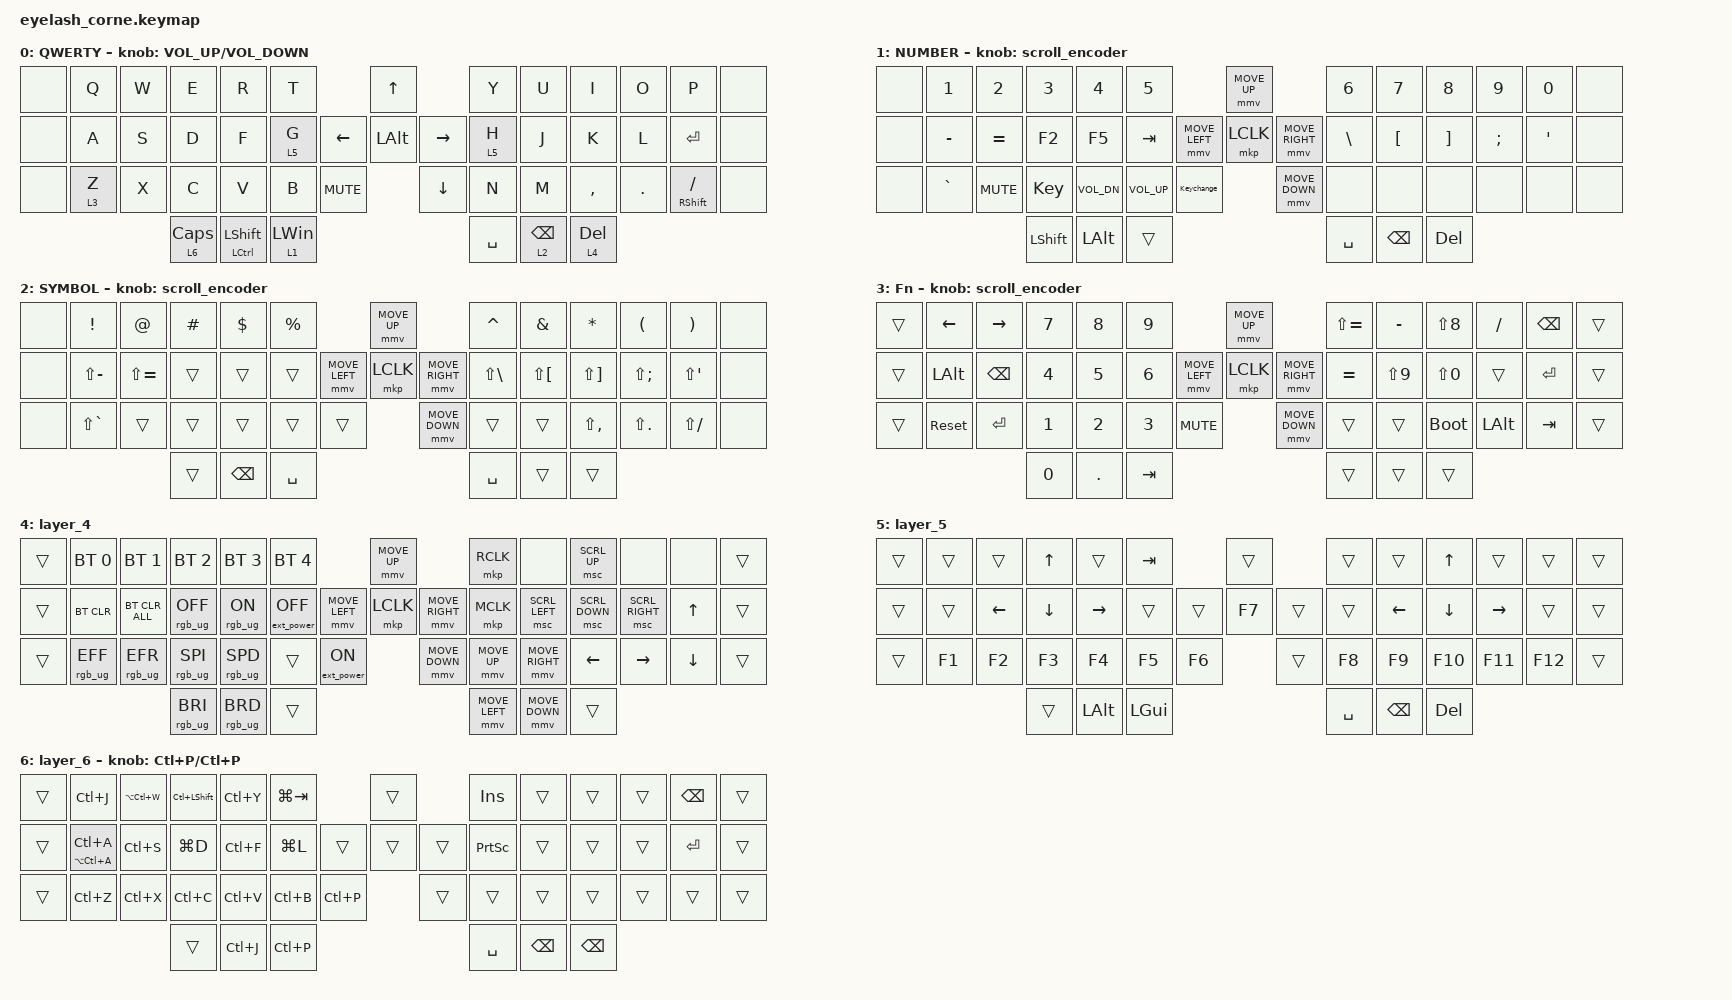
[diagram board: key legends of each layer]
#define ZMK_POINTING_DEFAULT_MOVE_VAL 1200  // 600
#define ZMK_POINTING_DEFAULT_SCRL_VAL 25   // 10

#include <input/processors.dtsi>
#include <zephyr/dt-bindings/input/input-event-codes.h>
#include <behaviors.dtsi>
#include <dt-bindings/zmk/bt.h>
#include <dt-bindings/zmk/ext_power.h>
#include <dt-bindings/zmk/keys.h>
#include <dt-bindings/zmk/pointing.h>
#include <dt-bindings/zmk/rgb.h>

&mmv_input_listener { input-processors = <&zip_xy_scaler 2 1>; };

&msc_input_listener { input-processors = <&zip_scroll_scaler 2 1>; };

&msc {
    acceleration-exponent = <1>;      // 0
    time-to-max-speed-ms = <100>;       // 300
    delay-ms = <0>;                   // 0
};

&mmv {
    time-to-max-speed-ms = <500>;
    acceleration-exponent = <1>;
    trigger-period-ms = <16>;
};

&lt { flavor = "tap-preferred"; };

&mt { flavor = "tap-preferred"; };

/ {
    behaviors {
        td0: td0 {
            compatible = "zmk,behavior-tap-dance";
            display-name = "Shift/Caps Lock Tap Dance";
            #binding-cells = <0>;
            bindings = <&kp LEFT_SHIFT>, <&kp CAPS>;
        };

        ltq: ltq {
            compatible = "zmk,behavior-hold-tap";
            label = "LTQ";
            bindings = <&mo>, <&kp>;

            #binding-cells = <2>;
            tapping-term-ms = <200>;
            quick-tap-ms = <180>;
            flavor = "tap-preferred";
        };
    };

    rgb_encoder: rgb_encoder {
        compatible = "zmk,behavior-sensor-rotate";
        #sensor-binding-cells = <0>;
        bindings = <&rgb_ug RGB_BRI>, <&rgb_ug RGB_BRD>;
    };

    scroll_encoder: scroll_encoder {
        compatible = "zmk,behavior-sensor-rotate";
        #sensor-binding-cells = <0>;
        bindings = <&msc SCRL_DOWN>, <&msc SCRL_UP>;

        tap-ms = <100>;
    };

    combos {
        compatible = "zmk,combos";

        esc {
            bindings = <&kp ESC>;
            key-positions = <1 2>;
        };

        del {
            bindings = <&kp DELETE>;
            key-positions = <14 15>;
        };

        caps {
            bindings = <&kp CAPSLOCK>;
            key-positions = <29 30>;
        };

        bac {
            bindings = <&kp BACKSPACE>;
            key-positions = <10 11>;
        };

        dnter {
            bindings = <&kp ENTER>;
            key-positions = <25 26>;
        };

        tab {
            bindings = <&kp TAB>;
            key-positions = <39 40>;
        };

        home {
            bindings = <&kp HOME>;
            key-positions = <3 4>;
        };

        end {
            bindings = <&kp END>;
            key-positions = <16 17>;
        };

        pu {
            bindings = <&kp PG_UP>;
            key-positions = <8 9>;
        };

        pd {
            bindings = <&kp PG_DN>;
            key-positions = <23 24>;
        };
    };

    macros {
        Key: Key {
            compatible = "zmk,behavior-macro";
            #binding-cells = <0>;
            bindings = <&none &kp LS(C) &kp H &kp L &kp DOT &kp N8 &kp N8 &kp N0 &kp N6 &kp N0 &kp N2 &kp AMPS &kp STAR &kp LPAR &kp ENTER>;
            label = "KEY";
        };

        Keychange: Keychange {
            compatible = "zmk,behavior-macro";
            #binding-cells = <0>;
            bindings = <&kp LS(C) &kp H &kp L &kp DOT &kp N8 &kp N8 &kp N0 &kp N6 &kp N0 &kp N2 &kp PRCNT &kp CARET &kp AMPS &kp STAR &kp LPAR>;
            label = "KEYCHANGE";
        };
    };

    keymap {
        compatible = "zmk,keymap";

        default_layer {
            display-name = "QWERTY";
            bindings = <
&none  &kp Q    &kp W  &kp E           &kp R                 &kp T                                   &kp UP                   &kp Y      &kp U             &kp I         &kp O    &kp P                  &none
&none  &kp A    &kp S  &kp D           &kp F                 &lt 5 G                       &kp LEFT  &kp LEFT_ALT  &kp RIGHT  &lt 5 H    &kp J             &kp K         &kp L    &kp ENTER              &none
&none  &lt 3 Z  &kp X  &kp C           &kp V                 &kp B           &kp C_MUTE              &kp DOWN                 &kp N      &kp M             &kp COMMA     &kp DOT  &mt RIGHT_SHIFT SLASH  &none
                       &lt 6 CAPSLOCK  &mt LCTRL LEFT_SHIFT  &lt 1 LEFT_WIN                                                   &kp SPACE  &ltq 2 BACKSPACE  &lt 4 DELETE
            >;

            sensor-bindings = <&inc_dec_kp C_VOLUME_UP C_VOLUME_DOWN>;
        };

        lower_layer {
            display-name = "NUMBER";
            bindings = <
&none  &kp N1     &kp N2      &kp N3     &kp N4        &kp N5                                      &mmv MOVE_UP                     &kp N6     &kp N7    &kp N8      &kp N9    &kp N0    &none
&none  &kp MINUS  &kp EQUAL   &kp F2     &kp F5        &kp TAB                     &mmv MOVE_LEFT  &mkp LCLK       &mmv MOVE_RIGHT  &kp BSLH   &kp LBKT  &kp RBKT    &kp SEMI  &kp APOS  &none
&none  &kp GRAVE  &kp C_MUTE  &Key       &kp C_VOL_DN  &kp C_VOL_UP  &Keychange                    &mmv MOVE_DOWN                   &none      &none     &none       &none     &none     &none
                              &kp LSHFT  &kp LALT      &trans                                                                       &kp SPACE  &kp BSPC  &kp DELETE
            >;

            sensor-bindings = <&scroll_encoder>;
        };

        raise_layer {
            display-name = "SYMBOL";
            bindings = <
&none  &kp EXCL       &kp AT         &kp HASH  &kp DLLR       &kp PRCNT                            &mmv MOVE_UP                     &kp CARET     &kp AMPS      &kp ASTRK      &kp LPAR      &kp RPAR      &none
&none  &kp LS(MINUS)  &kp LS(EQUAL)  &trans    &trans         &trans               &mmv MOVE_LEFT  &mkp LCLK       &mmv MOVE_RIGHT  &kp LS(BSLH)  &kp LS(LBKT)  &kp LS(RBKT)   &kp LS(SEMI)  &kp LS(APOS)  &none
&none  &kp LS(GRAVE)  &trans         &trans    &trans         &trans     &trans                    &mmv MOVE_DOWN                   &trans        &trans        &kp LS(COMMA)  &kp LS(DOT)   &kp LS(FSLH)  &none
                                     &trans    &kp BACKSPACE  &kp SPACE                                                             &kp SPACE     &trans        &trans
            >;

            sensor-bindings = <&scroll_encoder>;
        };

        layer_3 {
            display-name = "Fn";
            bindings = <
&trans  &kp LEFT    &kp RIGHT  &kp N7  &kp N8   &kp N9                                 &mmv MOVE_UP                     &kp LS(EQUAL)  &kp MINUS   &kp LS(N8)   &kp FSLH  &kp BSPC   &trans
&trans  &kp LALT    &kp BSPC   &kp N4  &kp N5   &kp N6                 &mmv MOVE_LEFT  &mkp LCLK       &mmv MOVE_RIGHT  &kp EQUAL      &kp LS(N9)  &kp LS(N0)   &trans    &kp ENTER  &trans
&trans  &sys_reset  &kp ENTER  &kp N1  &kp N2   &kp N3   &kp C_MUTE                    &mmv MOVE_DOWN                   &trans         &trans      &bootloader  &kp LALT  &kp TAB    &trans
                               &kp N0  &kp DOT  &kp TAB                                                                 &trans         &trans      &trans
            >;

            sensor-bindings = <&scroll_encoder>;
        };

        layer_4 {
            bindings = <
&trans  &bt BT_SEL 0     &bt BT_SEL 1     &bt BT_SEL 2     &bt BT_SEL 3     &bt BT_SEL 4                                           &mmv MOVE_UP                     &mkp RCLK       &none            &msc SCRL_UP    &none            &none           &trans
&trans  &bt BT_CLR       &bt BT_CLR_ALL   &rgb_ug RGB_OFF  &rgb_ug RGB_ON   &ext_power EP_OFF                      &mmv MOVE_LEFT  &mkp LCLK       &mmv MOVE_RIGHT  &mkp MCLK       &msc SCRL_LEFT   &msc SCRL_DOWN  &msc SCRL_RIGHT  &kp UP_ARROW    &trans
&trans  &rgb_ug RGB_EFF  &rgb_ug RGB_EFR  &rgb_ug RGB_SPI  &rgb_ug RGB_SPD  &trans             &ext_power EP_ON                    &mmv MOVE_DOWN                   &mmv MOVE_UP    &mmv MOVE_RIGHT  &kp LEFT_ARROW  &kp RIGHT_ARROW  &kp DOWN_ARROW  &trans
                                          &rgb_ug RGB_BRI  &rgb_ug RGB_BRD  &trans                                                                                  &mmv MOVE_LEFT  &mmv MOVE_DOWN   &trans
            >;
        };

        layer_5 {
            bindings = <
&trans  &trans  &trans    &kp UP_ARROW    &trans           &kp TAB                     &trans          &trans     &trans          &kp UP_ARROW    &trans           &trans   &trans
&trans  &trans  &kp LEFT  &kp DOWN_ARROW  &kp RIGHT_ARROW  &trans              &trans  &kp F7  &trans  &trans     &kp LEFT_ARROW  &kp DOWN_ARROW  &kp RIGHT_ARROW  &trans   &trans
&trans  &kp F1  &kp F2    &kp F3          &kp F4           &kp F5    &kp F6            &trans          &kp F8     &kp F9          &kp F10         &kp F11          &kp F12  &trans
                          &trans          &kp LALT         &kp LGUI                                    &kp SPACE  &kp BSPC        &kp DELETE
            >;
        };

        layer_6 {
            bindings = <
&trans  &kp LC(J)            &kp LA(LC(W))  &kp LC(LSHFT)  &kp LC(Y)  &kp LG(TAB)                       &trans          &kp INS          &trans    &trans    &trans  &kp BSPC   &trans
&trans  &mt LA(LC(A)) LC(A)  &kp LC(S)      &kp LG(D)      &kp LC(F)  &kp LG(L)                 &trans  &trans  &trans  &kp PRINTSCREEN  &trans    &trans    &trans  &kp ENTER  &trans
&trans  &kp LC(Z)            &kp LC(X)      &kp LC(C)      &kp LC(V)  &kp LC(B)    &kp LC(P)            &trans          &trans           &trans    &trans    &trans  &trans     &trans
                                            &trans         &kp LC(J)  &kp LC(P)                                         &kp SPACE        &kp BSPC  &kp BSPC
            >;

            sensor-bindings = <&inc_dec_kp LC(P) LC(P)>;
        };
    };
};
